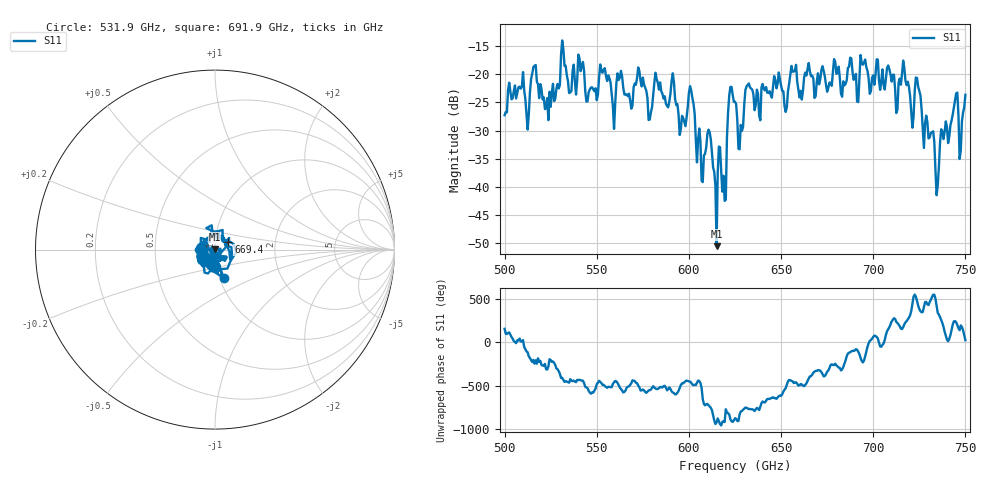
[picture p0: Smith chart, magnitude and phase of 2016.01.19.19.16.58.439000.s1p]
!Created with skrf (http://scikit-rf.org).
# GHz S RI R 50.0
!freq ReS11 ImS11
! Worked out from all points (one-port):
!   401 points, 500 GHz to 750 GHz, reference 50 ohm
!   lowest |S11| = -50.6 dB at 615 GHz (marker M1), VSWR 1.01, Z = 49.7 + j0.117 ohm
!   |S11| at or under -10 dB: start of sweep to end of sweep
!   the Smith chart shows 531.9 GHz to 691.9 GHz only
!   S11 on the Smith chart (normalised r, x): 531.9 GHz: 1.05, -0.34; 669.4 GHz: 1.16, +0.10; 691.9 GHz: 0.96, -0.10
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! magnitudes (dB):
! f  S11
! 500 GHz  -27.3
! 508.8 GHz  -22.5
! 512.5 GHz  -29.8
! 515.6 GHz  -18.7
! 523.8 GHz  -28.1
! 531.2 GHz  -14.0
! 531.9 GHz  -15.5
! 545 GHz  -24.8
! 562.5 GHz  -20.6
! 593.8 GHz  -25.3
! 601.2 GHz  -22.9
! 605.6 GHz  -29.6
! 611.2 GHz  -30.3
! 615 GHz  -50.6
! 618.8 GHz  -38.0
! 622.5 GHz  -22.2
! 625 GHz  -24.9
! 628.1 GHz  -29.0
! 631.9 GHz  -21.9
! 652.5 GHz  -26.7
! 656.2 GHz  -19.5
! 669.4 GHz  -21.3
! 687.5 GHz  -17.0
! 691.9 GHz  -24.9
! 718.8 GHz  -21.3
! 724.4 GHz  -22.2
! 734.4 GHz  -41.5
! 750 GHz  -23.6
